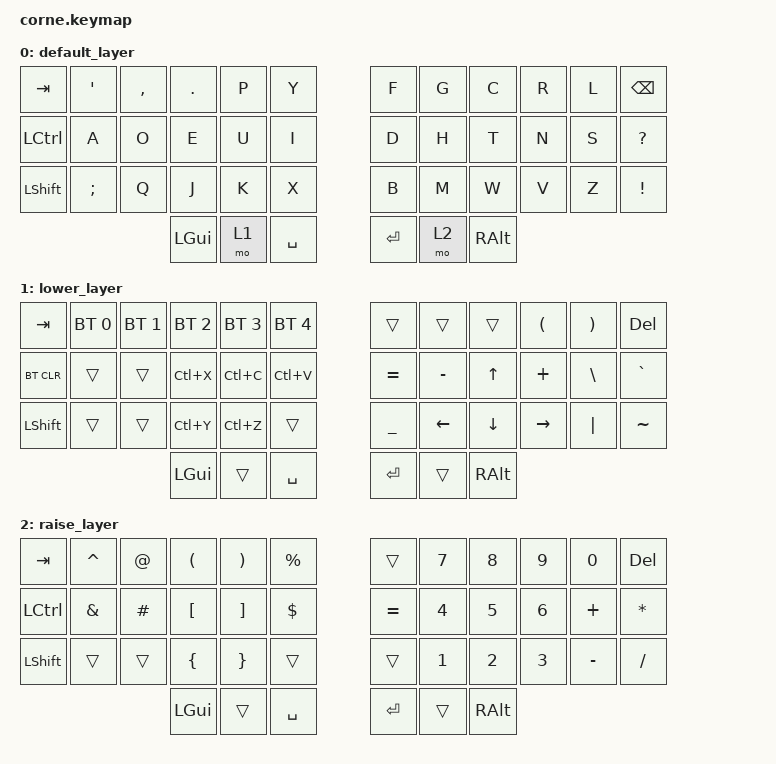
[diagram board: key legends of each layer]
/*
 * Copyright (c) 2020 The ZMK Contributors
 *
 * SPDX-License-Identifier: MIT
 */

#include <behaviors.dtsi>
#include <dt-bindings/zmk/bt.h>
#include <dt-bindings/zmk/keys.h>

/ {
    keymap {
        compatible = "zmk,keymap";

        default_layer {
            // -----------------------------------------------------------------------------------------
            // |  TAB |  '  |  ,  |  .  |  P  |  Y  |   |  F  |  G   |  C  |  R  |  L  | BSPC |
            // | CTRL |  A  |  O  |  E  |  U  |  I  |   |  D  |  H   |  T  |  N  |  S  |  ?   |
            // | SHFT |  ;  |  Q  |  J  |  K  |  X  |   |  B  |  M   |  W  |  V  |  Z  |  !   |
            //                    | GUI | LWR | SPC |   | ENT | RSE  | ALT |

            bindings = <
&kp TAB     &kp SQT        &kp COMMA  &kp PERIOD  &kp P  &kp Y        &kp F    &kp G  &kp C     &kp R  &kp L  &kp BSPC
&kp LCTRL  &kp A          &kp O      &kp E       &kp U  &kp I        &kp D    &kp H  &kp T     &kp N  &kp S  &kp QUESTION
&kp LSHIFT   &kp SEMICOLON  &kp Q      &kp J       &kp K  &kp X        &kp B    &kp M  &kp W     &kp V  &kp Z  &kp EXCLAMATION
                                      &kp LGUI    &mo 1  &kp SPACE    &kp RET  &mo 2  &kp RALT
            >;
        };

        lower_layer {
            // -----------------------------------------------------------------------------------------
            // |  TAB | BT1 | BT2 | BT3 | BT4 | BT5 |   |     |     |  *  |  (  |  )  | DEL  |
            // | BTCLR|     |     | CUT | CPY |PASTE|   |  =  |  -  |  UP |  +  |  \  |   `  |
            // | SHFT |     |     | REDO| UNDO|     |   |  _  | LFT | DWN | RGT | "|" |   ~  |
            //                    | GUI |     | SPC |   | ENT |     | ALT |

            bindings = <
&kp TAB     &bt BT_SEL 0  &bt BT_SEL 1  &bt BT_SEL 2  &bt BT_SEL 3  &bt BT_SEL 4    &trans     &trans     &trans     &kp LPAR   &kp RPAR  &kp DEL
&bt BT_CLR  &trans        &trans        &kp LC(X)     &kp LC(C)     &kp LC(V)       &kp EQUAL  &kp MINUS  &kp UP     &kp PLUS   &kp BSLH  &kp GRAVE
&kp LSHFT   &trans        &trans        &kp LC(Y)     &kp LC(Z)     &trans          &kp UNDER  &kp LEFT   &kp DOWN   &kp RIGHT  &kp PIPE  &kp TILDE
                                        &kp LGUI      &trans        &kp SPACE       &kp RET    &trans        &kp RALT
            >;
        };

        raise_layer {
            // -----------------------------------------------------------------------------------------
            // |  TAB |  ^  |  @  |  (  |  )  |  %  |   |     |  7  |  8  |  9  |  0  | DEL |
            // | CTRL |  &  |  #  |  [  |  ]  |  $  |   |  =  |  4  |  5  |  6  |  +  |  *  |
            // | SHFT |     |     |  {  |  }  |     |   |     |  1  |  2  |  3  |  -  |  /  |
            //                    | GUI |     | SPC |   | ENT |     | ALT |

            bindings = <
&kp TAB    &kp CARET  &kp AT    &kp LPAR          &kp RPAR           &kp PRCNT    &trans     &kp N7     &kp N8       &kp N9     &kp N0    &kp DEL
&kp LCTRL  &kp AMPS   &kp HASH  &kp LEFT_BRACKET  &kp RIGHT_BRACKET  &kp DLLR     &kp EQUAL  &kp N4     &kp N5       &kp N6     &kp PLUS  &kp ASTERISK
&kp LSHFT  &trans     &trans    &kp LEFT_BRACE    &kp RIGHT_BRACE    &trans       &trans     &kp N1     &kp N2       &kp N3     &kp MINUS &kp SLASH
                             &kp LGUI          &trans             &kp SPACE    &kp RET    &trans     &kp RALT
            >;
        };
    };
};
